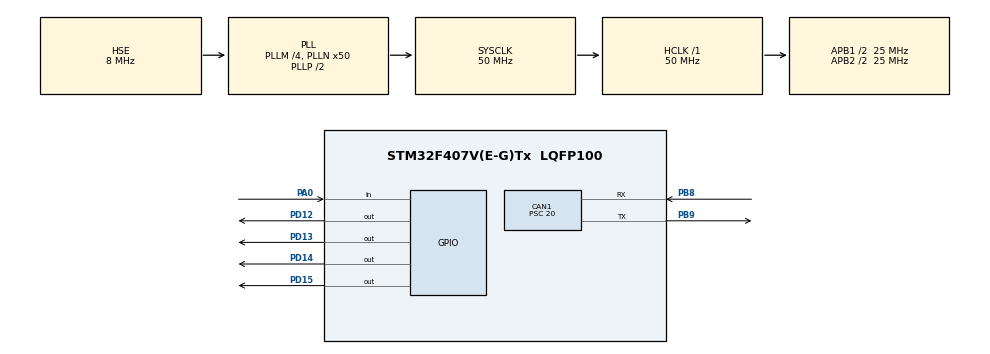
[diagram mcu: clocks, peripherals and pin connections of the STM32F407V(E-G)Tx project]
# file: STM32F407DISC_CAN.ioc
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CAN1.BS1=CAN_BS1_8TQ
CAN1.CalculateTimeQuantum=800.0
CAN1.Mode=CAN_MODE_NORMAL
CAN1.Prescaler=20
Mcu.Family=STM32F4
Mcu.Name=STM32F407V(E-G)Tx
Mcu.Package=LQFP100
NVIC.CAN1_RX0_IRQn=true\:0\:0\:false\:false\:true\:true\:true
NVIC.PriorityGroup=NVIC_PRIORITYGROUP_0
PA0-WKUP.Signal=GPIO_Input
PB8.Mode=Master
PB8.Signal=CAN1_RX
PB9.Mode=Master
PB9.Signal=CAN1_TX
PD12.Signal=GPIO_Output
PD13.Signal=GPIO_Output
PD14.Signal=GPIO_Output
PD15.Signal=GPIO_Output
PH0-OSC_IN.Mode=HSE-External-Oscillator
PH0-OSC_IN.Signal=RCC_OSC_IN
PH1-OSC_OUT.Mode=HSE-External-Oscillator
PH1-OSC_OUT.Signal=RCC_OSC_OUT
ProjectManager.HeapSize=0x200
ProjectManager.StackSize=0x400
ProjectManager.TargetToolchain=TrueSTUDIO
RCC.48MHZClocksFreq_Value=14285714.285714285
RCC.AHBFreq_Value=50000000
RCC.APB1CLKDivider=RCC_HCLK_DIV2
RCC.APB1Freq_Value=25000000
RCC.APB1TimFreq_Value=50000000
RCC.APB2CLKDivider=RCC_HCLK_DIV2
RCC.APB2Freq_Value=25000000
RCC.APB2TimFreq_Value=50000000
RCC.CortexFreq_Value=50000000
RCC.HCLKFreq_Value=50000000
RCC.HSE_VALUE=8000000
RCC.HSI_VALUE=16000000
RCC.LSE_VALUE=32768
RCC.PLLM=4
RCC.PLLN=50
RCC.PLLQ=7
RCC.PLLSourceVirtual=RCC_PLLSOURCE_HSE
RCC.SYSCLKFreq_VALUE=50000000
RCC.SYSCLKSource=RCC_SYSCLKSOURCE_PLLCLK
RCC.VCOOutputFreq_Value=100000000
board=STM32F407G-DISC1

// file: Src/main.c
/* USER CODE BEGIN Header */
/**
  ******************************************************************************
  * @file           : main.c
  * @brief          : Main program body
  ******************************************************************************
  * @attention
  *
  * <h2><center>&copy; Copyright (c) 2021 STMicroelectronics.
  * All rights reserved.</center></h2>
  *
  * This software component is licensed by ST under BSD 3-Clause license,
  * the "License"; You may not use this file except in compliance with the
  * License. You may obtain a copy of the License at:
  *                        opensource.org/licenses/BSD-3-Clause
  *
  ******************************************************************************
  */
/* USER CODE END Header */

#include "main.h"

CAN_HandleTypeDef hcan1;

/* USER CODE BEGIN PV */
//Tx and Rx Message structure/typdef
static CAN_RxHeaderTypeDef RxHeader;
static CAN_TxHeaderTypeDef TxHeader;

uint8_t               TxData[8];
uint8_t               RxData[8];

uint32_t              TxMailbox;

uint16_t OwnID = 0x123;
uint16_t RemoteID = 0x456;

uint8_t myLEDVar = 0;

/* USER CODE END PV */

void SystemClock_Config(void);
static void MX_GPIO_Init(void);
static void MX_CAN1_Init(void);
/* USER CODE BEGIN PFP */
void LED_Switch(uint8_t led);

/* USER CODE END PFP */

int main(void)
{

  /* MCU Configuration--------------------------------------------------------*/

  /* Reset of all peripherals, Initializes the Flash interface and the Systick. */
  HAL_Init();

  /* Configure the system clock */
  SystemClock_Config();

  /* Initialize all configured peripherals */
  MX_GPIO_Init();
  MX_CAN1_Init();

  /* Infinite loop */
  while (1)
  {

    /* USER CODE BEGIN 3 */
	  if(HAL_GPIO_ReadPin(GPIOA, GPIO_PIN_0) == GPIO_PIN_SET)
	  {
	  	//Transmit CAN packet
	  	if(myLEDVar == 4) myLEDVar=0;
	  	//LED_Switch(++myLEDVar);
	  	++myLEDVar;

	  	TxData[0] = myLEDVar;
	  	TxData[1] = 0x12;
	  	/* Request transmission */
	  	if(HAL_CAN_AddTxMessage(&hcan1, &TxHeader, TxData, &TxMailbox) != HAL_OK)
	  	{
	  	   /* Transmission request Error */
	  	   Error_Handler();
	  	}

	  	/* Wait transmission complete */
	  	while(HAL_CAN_GetTxMailboxesFreeLevel(&hcan1) != 3) {}

	  	HAL_Delay(500);
	  }
  }
  /* USER CODE END 3 */
}

void SystemClock_Config(void)
{
  RCC_OscInitTypeDef RCC_OscInitStruct = {0};
  RCC_ClkInitTypeDef RCC_ClkInitStruct = {0};

  /** Configure the main internal regulator output voltage
  */
  __HAL_RCC_PWR_CLK_ENABLE();
  __HAL_PWR_VOLTAGESCALING_CONFIG(PWR_REGULATOR_VOLTAGE_SCALE1);
  /** Initializes the CPU, AHB and APB busses clocks
  */
  RCC_OscInitStruct.OscillatorType = RCC_OSCILLATORTYPE_HSE;
  RCC_OscInitStruct.HSEState = RCC_HSE_ON;
  RCC_OscInitStruct.PLL.PLLState = RCC_PLL_ON;
  RCC_OscInitStruct.PLL.PLLSource = RCC_PLLSOURCE_HSE;
  RCC_OscInitStruct.PLL.PLLM = 4;
  RCC_OscInitStruct.PLL.PLLN = 50;
  RCC_OscInitStruct.PLL.PLLP = RCC_PLLP_DIV2;
  RCC_OscInitStruct.PLL.PLLQ = 7;
  if (HAL_RCC_OscConfig(&RCC_OscInitStruct) != HAL_OK)
  {
    Error_Handler();
  }
  /** Initializes the CPU, AHB and APB busses clocks
  */
  RCC_ClkInitStruct.ClockType = RCC_CLOCKTYPE_HCLK|RCC_CLOCKTYPE_SYSCLK
                              |RCC_CLOCKTYPE_PCLK1|RCC_CLOCKTYPE_PCLK2;
  RCC_ClkInitStruct.SYSCLKSource = RCC_SYSCLKSOURCE_PLLCLK;
  RCC_ClkInitStruct.AHBCLKDivider = RCC_SYSCLK_DIV1;
  RCC_ClkInitStruct.APB1CLKDivider = RCC_HCLK_DIV2;
  RCC_ClkInitStruct.APB2CLKDivider = RCC_HCLK_DIV2;

  if (HAL_RCC_ClockConfig(&RCC_ClkInitStruct, FLASH_LATENCY_1) != HAL_OK)
  {
    Error_Handler();
  }
}

static void MX_CAN1_Init(void)
{

  hcan1.Instance = CAN1;
  hcan1.Init.Prescaler = 20;
  hcan1.Init.Mode = CAN_MODE_NORMAL;
  hcan1.Init.SyncJumpWidth = CAN_SJW_1TQ;
  hcan1.Init.TimeSeg1 = CAN_BS1_8TQ;
  hcan1.Init.TimeSeg2 = CAN_BS2_1TQ;
  hcan1.Init.TimeTriggeredMode = DISABLE;
  hcan1.Init.AutoBusOff = DISABLE;
  hcan1.Init.AutoWakeUp = DISABLE;
  hcan1.Init.AutoRetransmission = DISABLE;
  hcan1.Init.ReceiveFifoLocked = DISABLE;
  hcan1.Init.TransmitFifoPriority = DISABLE;
  if (HAL_CAN_Init(&hcan1) != HAL_OK)
  {
    Error_Handler();
  }
  /* USER CODE BEGIN CAN1_Init 2 */

  CAN_FilterTypeDef sFilterConfig;
  sFilterConfig.FilterFIFOAssignment=CAN_RX_FIFO0; //set fifo assignment
  sFilterConfig.FilterIdHigh = 0x0000;
  sFilterConfig.FilterIdLow = 0x0000;
  sFilterConfig.FilterMaskIdHigh = 0x0000;
  sFilterConfig.FilterMaskIdLow = 0x0000;
  sFilterConfig.FilterScale=CAN_FILTERSCALE_32BIT; //set filter scale
  sFilterConfig.FilterActivation=ENABLE;
  sFilterConfig.FilterBank = 0;
  sFilterConfig.FilterMode = CAN_FILTERMODE_IDMASK;
  sFilterConfig.SlaveStartFilterBank = 14;
  if (HAL_CAN_ConfigFilter(&hcan1, &sFilterConfig) != HAL_OK)
  {
    Error_Handler();
  }

  if (HAL_CAN_Start(&hcan1) != HAL_OK)
  {
      Error_Handler();
  }

  if (HAL_CAN_ActivateNotification(&hcan1, CAN_IT_RX_FIFO0_MSG_PENDING| CAN_IT_RX_FIFO0_FULL | CAN_IT_RX_FIFO0_OVERRUN) != HAL_OK) {
    Error_Handler();
  }

  TxHeader.StdId = OwnID;
  TxHeader.IDE = CAN_ID_STD;
  TxHeader.RTR = CAN_RTR_DATA;
  TxHeader.DLC = 2;
  TxHeader.TransmitGlobalTime = DISABLE;

  /* USER CODE END CAN1_Init 2 */

}

static void MX_GPIO_Init(void)
{
  GPIO_InitTypeDef GPIO_InitStruct = {0};

  /* GPIO Ports Clock Enable */
  __HAL_RCC_GPIOH_CLK_ENABLE();
  __HAL_RCC_GPIOA_CLK_ENABLE();
  __HAL_RCC_GPIOD_CLK_ENABLE();
  __HAL_RCC_GPIOB_CLK_ENABLE();

  /*Configure GPIO pin Output Level */
  HAL_GPIO_WritePin(GPIOD, GPIO_PIN_12|GPIO_PIN_13|GPIO_PIN_14|GPIO_PIN_15, GPIO_PIN_RESET);

  /*Configure GPIO pin : PA0 */
  GPIO_InitStruct.Pin = GPIO_PIN_0;
  GPIO_InitStruct.Mode = GPIO_MODE_INPUT;
  GPIO_InitStruct.Pull = GPIO_NOPULL;
  HAL_GPIO_Init(GPIOA, &GPIO_InitStruct);

  /*Configure GPIO pins : PD12 PD13 PD14 PD15 */
  GPIO_InitStruct.Pin = GPIO_PIN_12|GPIO_PIN_13|GPIO_PIN_14|GPIO_PIN_15;
  GPIO_InitStruct.Mode = GPIO_MODE_OUTPUT_PP;
  GPIO_InitStruct.Pull = GPIO_NOPULL;
  GPIO_InitStruct.Speed = GPIO_SPEED_FREQ_LOW;
  HAL_GPIO_Init(GPIOD, &GPIO_InitStruct);

}

/* USER CODE BEGIN 4 */

void LED_Switch(uint8_t led)
{

	/* Turn off all LEDs */
	HAL_GPIO_WritePin(GPIOD, GPIO_PIN_12, GPIO_PIN_RESET);
	HAL_GPIO_WritePin(GPIOD, GPIO_PIN_13, GPIO_PIN_RESET);
	HAL_GPIO_WritePin(GPIOD, GPIO_PIN_14, GPIO_PIN_RESET);
	HAL_GPIO_WritePin(GPIOD, GPIO_PIN_15, GPIO_PIN_RESET);

	switch(led)
	{
    	case(1):
		{
    		  HAL_GPIO_WritePin(GPIOD, GPIO_PIN_12, GPIO_PIN_SET);
    		  break;
		}

    	case(2):
		{
    		  HAL_GPIO_WritePin(GPIOD, GPIO_PIN_13, GPIO_PIN_SET);
    		  break;
		}

    	case(3):
		{
    		  HAL_GPIO_WritePin(GPIOD, GPIO_PIN_14, GPIO_PIN_SET);
    		  break;
		}

    	case(4):
		{
    		  HAL_GPIO_WritePin(GPIOD, GPIO_PIN_15, GPIO_PIN_SET);
    		  break;
		}

    	default:
    		break;
	}
}

void HAL_CAN_RxFifo0MsgPendingCallback(CAN_HandleTypeDef *hcan)
{
	/* Get RX message */
	if (HAL_CAN_GetRxMessage(hcan, CAN_RX_FIFO0, &RxHeader, RxData) != HAL_OK)
	{
	  /* Reception Error */
	  Error_Handler();
	}

	if(RxHeader.StdId == RemoteID)
	{
		myLEDVar = RxData[0];
		LED_Switch(myLEDVar);
	}
}

/* USER CODE END 4 */

void Error_Handler(void)
{
}

/************************ (C) COPYRIGHT STMicroelectronics *****END OF FILE****/
